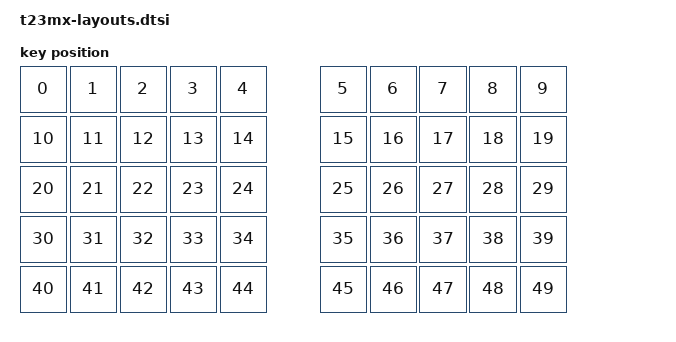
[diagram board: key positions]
// See https://zmk.dev/docs/development/hardware-integration/physical-layouts
// for how to configure this.

#include <physical_layouts.dtsi>

/ {
    default_layout: default_layout {
        compatible = "zmk,physical-layout";
        display-name = "Default Layout";
        transform = <&default_transform>;
        kscan = <&kscan>;

        // Edit this to define the positions and sizes of the keys, or remove it
        // if your keyboard will not support ZMK Studio.
        // https://zmk.dev/docs/development/hardware-integration/physical-layouts#optional-keys-property
        keys  //                     w   h    x    y     rot    rx    ry
            = <&key_physical_attrs 100 100    0    0       0     0     0>   // L0 C0
            , <&key_physical_attrs 100 100  100    0       0     0     0>   // L0 C1
            , <&key_physical_attrs 100 100  200    0       0     0     0>   // L0 C2
            , <&key_physical_attrs 100 100  300    0       0     0     0>   // L0 C3
            , <&key_physical_attrs 100 100  400    0       0     0     0>   // L0 C4
            , <&key_physical_attrs 100 100  600    0       0     0     0>   // R0 C0
            , <&key_physical_attrs 100 100  700    0       0     0     0>   // R0 C1
            , <&key_physical_attrs 100 100  800    0       0     0     0>   // R0 C2
            , <&key_physical_attrs 100 100  900    0       0     0     0>   // R0 C3
            , <&key_physical_attrs 100 100 1000    0       0     0     0>   // R0 C4
            , <&key_physical_attrs 100 100    0  100       0     0     0>   // L1 C0
            , <&key_physical_attrs 100 100  100  100       0     0     0>   // L1 C1
            , <&key_physical_attrs 100 100  200  100       0     0     0>   // L1 C2
            , <&key_physical_attrs 100 100  300  100       0     0     0>   // L1 C3
            , <&key_physical_attrs 100 100  400  100       0     0     0>   // L1 C4
            , <&key_physical_attrs 100 100  600  100       0     0     0>   // R1 C0
            , <&key_physical_attrs 100 100  700  100       0     0     0>   // R1 C1
            , <&key_physical_attrs 100 100  800  100       0     0     0>   // R1 C2
            , <&key_physical_attrs 100 100  900  100       0     0     0>   // R1 C3
            , <&key_physical_attrs 100 100 1000  100       0     0     0>   // R1 C4
            , <&key_physical_attrs 100 100    0  200       0     0     0>   // L2 C0
            , <&key_physical_attrs 100 100  100  200       0     0     0>   // L2 C1
            , <&key_physical_attrs 100 100  200  200       0     0     0>   // L2 C2
            , <&key_physical_attrs 100 100  300  200       0     0     0>   // L2 C3
            , <&key_physical_attrs 100 100  400  200       0     0     0>   // L2 C4
            , <&key_physical_attrs 100 100  600  200       0     0     0>   // R2 C0
            , <&key_physical_attrs 100 100  700  200       0     0     0>   // R2 C1
            , <&key_physical_attrs 100 100  800  200       0     0     0>   // R2 C2
            , <&key_physical_attrs 100 100  900  200       0     0     0>   // R2 C3
            , <&key_physical_attrs 100 100 1000  200       0     0     0>   // R2 C4
            , <&key_physical_attrs 100 100    0  300       0     0     0>   // L3 C0
            , <&key_physical_attrs 100 100  100  300       0     0     0>   // L3 C1
            , <&key_physical_attrs 100 100  200  300       0     0     0>   // L3 C2
            , <&key_physical_attrs 100 100  300  300       0     0     0>   // L3 C3
            , <&key_physical_attrs 100 100  400  300       0     0     0>   // L3 C4
            , <&key_physical_attrs 100 100  600  300       0     0     0>   // R3 C0
            , <&key_physical_attrs 100 100  700  300       0     0     0>   // R3 C1
            , <&key_physical_attrs 100 100  800  300       0     0     0>   // R3 C2
            , <&key_physical_attrs 100 100  900  300       0     0     0>   // R3 C3
            , <&key_physical_attrs 100 100 1000  300       0     0     0>   // R3 C4
            , <&key_physical_attrs 100 100    0  400       0     0     0>   // L4 C0
            , <&key_physical_attrs 100 100  100  400       0     0     0>   // L4 C1
            , <&key_physical_attrs 100 100  200  400       0     0     0>   // L4 C2
            , <&key_physical_attrs 100 100  300  400       0     0     0>   // L4 C3
            , <&key_physical_attrs 100 100  400  400       0     0     0>   // L4 C4
            , <&key_physical_attrs 100 100  600  400       0     0     0>   // R4 C0
            , <&key_physical_attrs 100 100  700  400       0     0     0>   // R4 C1
            , <&key_physical_attrs 100 100  800  400       0     0     0>   // R4 C2
            , <&key_physical_attrs 100 100  900  400       0     0     0>   // R4 C3
            , <&key_physical_attrs 100 100 1000  400       0     0     0>   // R4 C4
            ;
    };
};
